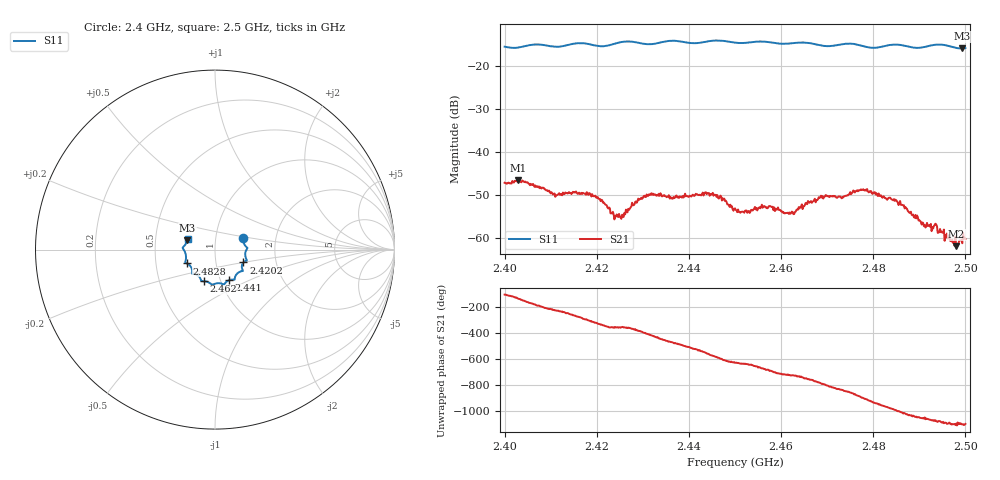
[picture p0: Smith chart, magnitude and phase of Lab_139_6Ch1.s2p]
# Hz S RI R 50
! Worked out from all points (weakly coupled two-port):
!   601 points, 2.4 GHz to 2.5 GHz, reference 50 ohm
!   highest |S21| = -46.63 dB at 2.403 GHz (marker M1); lowest = -62.0 dB at 2.498 GHz (marker M2)
!   lowest |S11| = -15.8 dB at 2.4993 GHz (marker M3), VSWR 1.39, Z = 36.5 + j3.85 ohm
!   |S11| at or under -10 dB: start of sweep to end of sweep
!   S12 and S22 are empty: the file has one direction only
!   S11 on the Smith chart (normalised r, x): 2.4 GHz: 1.36, +0.18; 2.4202 GHz: 1.36, -0.20; 2.441 GHz: 1.10, -0.39; 2.462 GHz: 0.84, -0.30; 2.4828 GHz: 0.72, -0.11; 2.5 GHz: 0.73, +0.09
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2.4e9  0.1584 0.0627  -0.00109 -0.00424  0 0  0 0
2.403e9  0.1642 0.0285  -0.00344 -0.00314  0 0  0 0
2.411e9  0.1693 -0.0168  -0.00201 0.00222  0 0  0 0
2.416667e9  0.1774 -0.0605  0.000809 0.00324  0 0  0 0
2.420167e9  0.1585 -0.0715  0.00255 0.00155  0 0  0 0
2.4235e9  0.1503 -0.1025  0.002 2.84e-05  0 0  0 0
2.425333e9  0.1547 -0.1151  0.00166 7.8e-05  0 0  0 0
2.429833e9  0.1381 -0.1235  0.00241 -0.00152  0 0  0 0
2.433333e9  0.1122 -0.1508  0.00061 -0.00304  0 0  0 0
2.441e9  0.0785 -0.1698  -0.00297 -0.000958  0 0  0 0
2.445667e9  0.0511 -0.1944  -0.00226 0.00219  0 0  0 0
2.45e9  0.0286 -0.1878  2.6e-05 0.0022  0 0  0 0
2.457667e9  -0.0233 -0.19  0.00204 0.00114  0 0  0 0
2.462e9  -0.0601 -0.1758  0.00188 -0.00026  0 0  0 0
2.466667e9  -0.0787 -0.1683  0.00187 -0.00175  0 0  0 0
2.477333e9  -0.127 -0.1216  -0.00367 -0.00022  0 0  0 0
2.482833e9  -0.1572 -0.0769  -0.000918 0.0027  0 0  0 0
2.483333e9  -0.1605 -0.0755  -0.000629 0.00285  0 0  0 0
2.493333e9  -0.1791 0.00611  0.0014 3.22e-05  0 0  0 0
2.498e9  -0.1614 0.0339  0.000748 -0.000268  0 0  0 0
2.499333e9  -0.1541 0.0514  0.000773 -0.000374  0 0  0 0
2.5e9  -0.1521 0.061  0.000891 -0.000368  0 0  0 0
